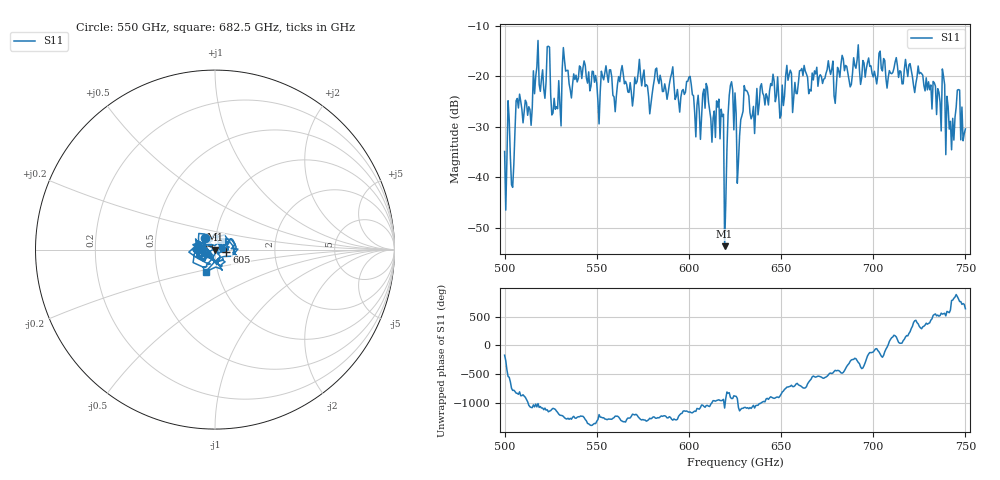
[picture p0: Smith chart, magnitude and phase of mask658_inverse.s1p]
!Created with skrf (http://scikit-rf.org).
# GHz S MA R 50.0
!freq magS11 angS11
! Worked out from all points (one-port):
!   401 points, 500 GHz to 750 GHz, reference 50 ohm
!   lowest |S11| = -53.7 dB at 619.4 GHz (marker M1), VSWR 1.00, Z = 50.2 - j0.000223 ohm
!   |S11| at or under -10 dB: start of sweep to end of sweep
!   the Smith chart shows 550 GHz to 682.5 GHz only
!   S11 on the Smith chart (normalised r, x): 550 GHz: 0.89, +0.11; 605 GHz: 1.13, -0.03; 682.5 GHz: 0.88, -0.22
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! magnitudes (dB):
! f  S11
! 500 GHz  -34.9
! 504.4 GHz  -42.0
! 507.5 GHz  -26.3
! 513.8 GHz  -26.6
! 516.9 GHz  -20.1
! 523.8 GHz  -14.1
! 526.9 GHz  -24.4
! 531.2 GHz  -18.6
! 550 GHz  -21.5
! 562.5 GHz  -21.1
! 593.8 GHz  -22.7
! 600 GHz  -20.2
! 605 GHz  -23.8
! 616.2 GHz  -24.6
! 619.4 GHz  -53.7
! 620.6 GHz  -34.6
! 622.5 GHz  -21.9
! 625 GHz  -23.3
! 627.5 GHz  -31.8
! 631.2 GHz  -22.8
! 656.2 GHz  -27.2
! 682.5 GHz  -17.6
! 687.5 GHz  -22.1
! 718.8 GHz  -20.1
! 737.5 GHz  -18.6
! 742.5 GHz  -34.6
! 745.6 GHz  -22.8
! 750 GHz  -30.5
